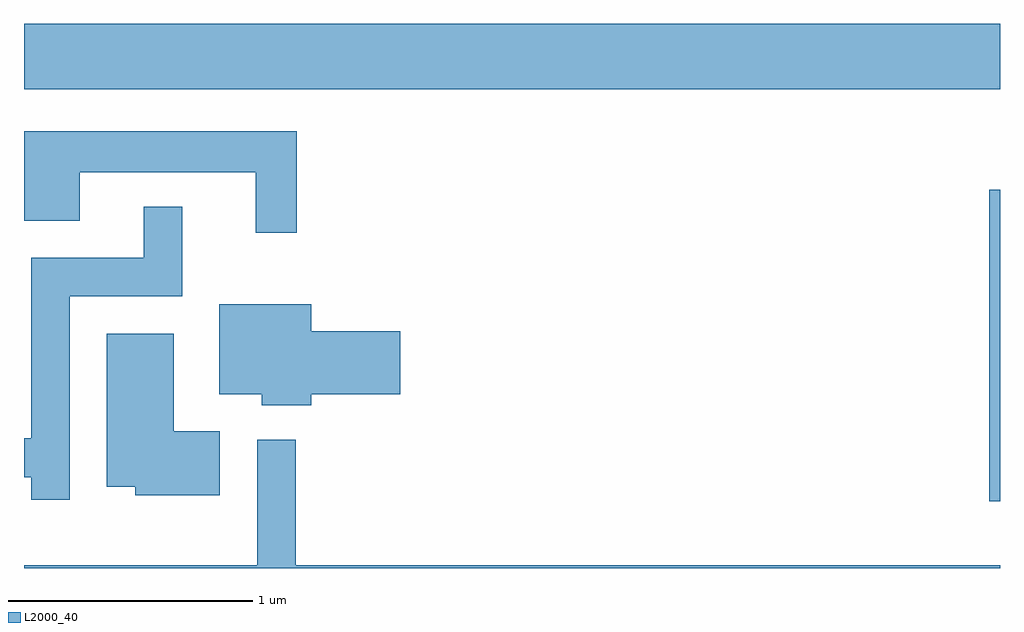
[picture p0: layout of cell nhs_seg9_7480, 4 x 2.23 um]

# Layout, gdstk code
import gdstk
lib = gdstk.Library(unit=1e-6, precision=1e-09)
def R(c, l, rs):  # rectangles x0, y0, x1, y1
    for r in rs: c.add(gdstk.rectangle(r[:2], r[2:], *l))
def P(c, l, *ps):  # polygons
    for p in ps: c.add(gdstk.Polygon(p, *l))
L2000_40 = (2000, 40)

nhs_seg9_7480 = lib.new_cell('nhs_seg9_7480')
R(nhs_seg9_7480, L2000_40, [(409.566,2076.706,409.611,2077.984), (405.611,2078.396,409.611,2078.664)])
P(nhs_seg9_7480, L2000_40, [(406.729,2078.224),(405.611,2078.224),(405.611,2077.856),(405.839,2077.856),(405.839,2078.056),(406.561,2078.056),(406.561,2077.808),(406.729,2077.808)],
  [(405.799,2077.546),(406.259,2077.546),(406.259,2077.913),(406.101,2077.913),(406.101,2077.704),(405.641,2077.704),(405.641,2076.964),(405.611,2076.964),(405.611,2076.806),(405.641,2076.806),(405.641,2076.713),(405.799,2076.713)],
  [(406.789,2077.146),(407.154,2077.146),(407.154,2077.404),(406.789,2077.404),(406.789,2077.514),(406.411,2077.514),(406.411,2077.146),(406.586,2077.146),(406.586,2077.101),(406.789,2077.101)],
  [(406.414,2076.994),(406.224,2076.994),(406.224,2077.394),(405.951,2077.394),(405.951,2076.766),(406.066,2076.766),(406.066,2076.731),(406.414,2076.731)],
  [(409.611,2076.444),(406.724,2076.444),(406.724,2076.958),(406.566,2076.958),(406.566,2076.444),(405.611,2076.444),(405.611,2076.432),(409.611,2076.432)])

lib.write_gds('nhs_seg9_7480.gds')
